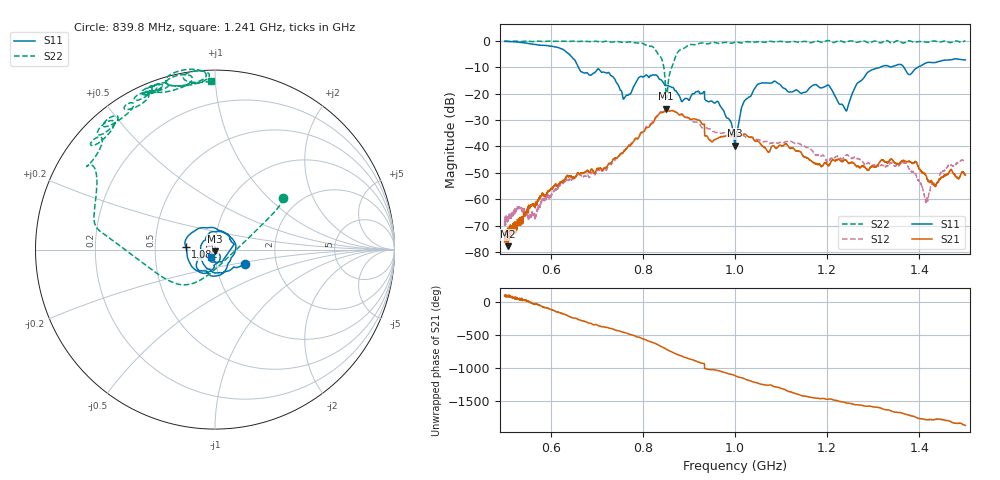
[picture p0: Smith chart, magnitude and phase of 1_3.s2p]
!Agilent Technologies,E8364B,US42250235,A.06.04.32
!Agilent E8364B: A.06.04.32
!Date: Thursday, October 01, 2020 16:00:49
!Correction: S11(Full 2 Port(1,2)) S21(Full 2 Port(1,2)) S12(Full 2 Port(1,2)) S22(Full 2 Port(1,2))
!S2P File: Measurements: S11, S21, S12, S22:
# Hz S  dB  R 50
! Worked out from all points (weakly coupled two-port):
!   2650 points, 500 MHz to 1.5 GHz, reference 50 ohm
!   highest |S21| = -25.72 dB at 850.7 MHz (marker M1); lowest = -77.8 dB at 506.8 MHz (marker M2)
!   lowest |S11| = -39.7 dB at 999.8 MHz (marker M3), VSWR 1.02, Z = 49.9 - j1.03 ohm
!   |S11| at or under -10 dB: 660 MHz to 1.315 GHz (655.2 MHz wide, 66.3 % of centre); 1.366 GHz to 1.396 GHz (29.82 MHz wide, 2.16 % of centre)
!   |S22| runs from -21.8 to 0.1 dB; largest |S21 - S12| = 0.02
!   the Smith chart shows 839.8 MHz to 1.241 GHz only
!   S11 on the Smith chart (normalised r, x): 839.8 MHz: 1.37, -0.22; 1.082 GHz: 0.72, +0.02; 1.241 GHz: 0.96, -0.08
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5e8  -0.20 -175.1  -76.16 92.5  -69.90 85.4  -0.06 143.0
5.06795e8  -0.25 -178.8  -77.77 75.0  -67.83 69.5  -0.18 143.9
6.124953e8  -2.38 110.6  -54.75 -154.1  -56.54 -162.0  -0.16 129.2
6.668554e8  -11.77 71.8  -49.92 73.8  -51.04 54.5  -0.17 124.0
7.265006e8  -12.12 56.5  -46.42 -38.8  -46.80 -52.4  -0.34 116.5
7.608532e8  -21.42 65.1  -41.62 -109.5  -41.45 -119.7  -0.60 105.8
8.337108e8  -13.97 -14.5  -28.02 63.8  -27.81 55.8  -5.23 51.0
8.397508e8  -14.80 -25.3  -27.19 39.1  -26.85 30.7  -6.42 37.1
8.506984e8  -16.92 -45.4  -25.72 0.4  -25.62 -8.7  -20.61 -17.2
8.82786e8  -22.50 -162.2  -27.74 -100.5  -28.02 -113.0  -3.27 167.7
9.628162e8  -22.97 -108.8  -36.97 34.5  -34.88 68.0  -0.96 133.5
9.998112e8  -39.66 -97.5  -34.93 -42.3  -35.56 1.5  -0.55 119.4
1.000189e9  -39.57 -89.5  -34.89 -44.0  -35.55 0.9  -0.53 119.5
1.020951e9  -22.64 -76.4  -35.30 -91.2  -36.19 -41.8  -0.53 113.1
1.081729e9  -15.71 174.5  -39.73 162.1  -38.68 -143.7  -0.33 113.5
1.166667e9  -17.14 -72.2  -45.67 -14.8  -41.41 51.9  -0.65 100.2
1.241034e9  -26.54 -115.4  -45.24 -95.4  -43.26 -36.0  -0.54 91.4
1.287844e9  -11.97 -109.4  -48.80 -147.6  -46.21 -111.4  -0.65 97.9
1.333522e9  -9.62 -157.4  -45.74 156.7  -47.19 -167.9  -0.23 97.0
1.370895e9  -11.38 170.7  -45.77 90.2  -46.43 112.5  -0.40 74.6
1.415817e9  -8.30 178.7  -51.61 6.3  -59.51 85.6  -0.50 78.0
1.5e9  -7.24 135.2  -50.83 -79.0  -46.20 -30.7  0.04 71.6
